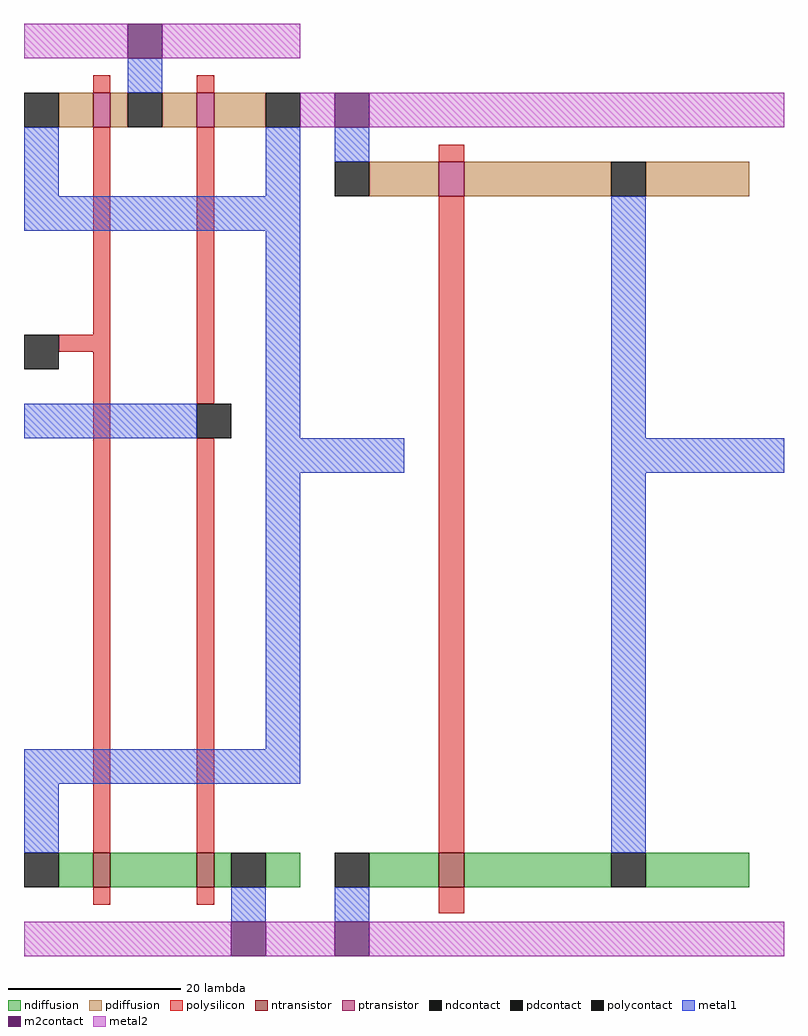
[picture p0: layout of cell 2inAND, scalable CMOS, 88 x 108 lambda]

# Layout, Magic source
magic
tech scmos
<< polysilicon >>
rect 8 100 10 102
rect 20 100 22 102
rect 8 72 10 96
rect 4 70 10 72
rect 8 12 10 70
rect 20 64 22 96
rect 20 12 22 60
rect 8 6 10 8
rect 20 6 22 8
<< ndiffusion >>
rect 4 8 8 12
rect 10 8 20 12
rect 22 8 24 12
rect 28 8 32 12
<< pdiffusion >>
rect 4 96 8 100
rect 10 96 12 100
rect 16 96 20 100
rect 22 96 28 100
<< metal1 >>
rect 12 100 16 104
rect 0 88 4 96
rect 28 88 32 96
rect 0 84 32 88
rect 0 60 20 64
rect 28 60 32 84
rect 28 56 44 60
rect 68 56 88 60
rect 28 24 32 56
rect 0 20 32 24
rect 0 12 4 20
rect 24 4 28 8
<< metal2 >>
rect 0 104 12 108
rect 16 104 32 108
rect 0 0 24 4
rect 28 0 32 4
<< ntransistor >>
rect 8 8 10 12
rect 20 8 22 12
<< ptransistor >>
rect 8 96 10 100
rect 20 96 22 100
<< polycontact >>
rect 0 68 4 72
rect 20 60 24 64
<< ndcontact >>
rect 0 8 4 12
rect 24 8 28 12
<< pdcontact >>
rect 0 96 4 100
rect 12 96 16 100
rect 28 96 32 100
<< m2contact >>
rect 12 104 16 108
rect 24 0 28 4
use inverter  inverter_0
transform 1 0 32 0 1 0
box 0 0 52 108
<< end >>

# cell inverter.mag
magic
tech scmos
<< polysilicon >>
rect 16 92 19 94
rect 16 12 19 88
rect 16 5 19 8
<< ndiffusion >>
rect 8 8 16 12
rect 19 8 36 12
rect 40 8 52 12
<< pdiffusion >>
rect 8 88 16 92
rect 19 88 36 92
rect 40 88 52 92
<< metal1 >>
rect 4 92 8 96
rect 36 12 40 88
rect 4 4 8 8
<< metal2 >>
rect 0 96 4 100
rect 8 96 56 100
rect 0 0 4 4
rect 8 0 56 4
<< ntransistor >>
rect 16 8 19 12
<< ptransistor >>
rect 16 88 19 92
<< ndcontact >>
rect 4 8 8 12
rect 36 8 40 12
<< pdcontact >>
rect 4 88 8 92
rect 36 88 40 92
<< m2contact >>
rect 4 96 8 100
rect 4 0 8 4
<< end >>
